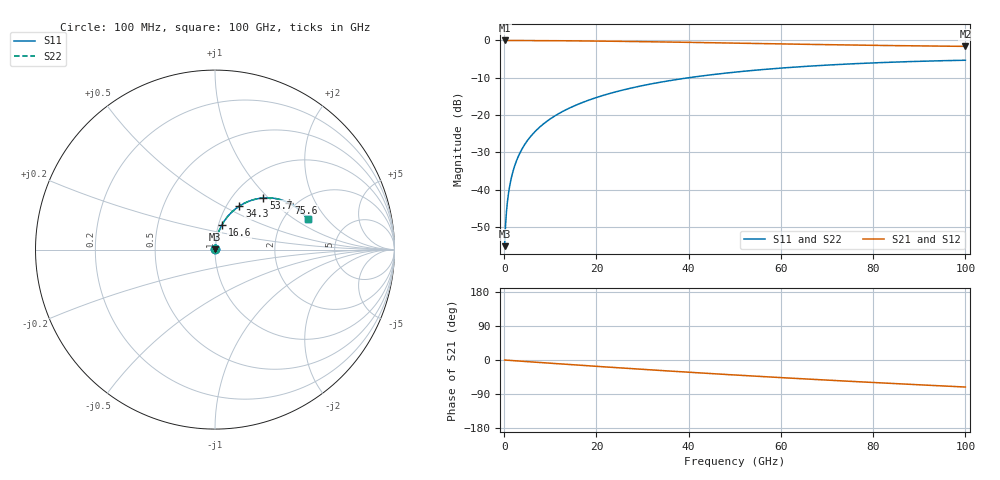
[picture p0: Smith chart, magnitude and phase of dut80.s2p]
! Touchstone file exported from HFSS 2026.1.0
!  File:  C:/ffzhzh/LocalFiles/Ansys_Project_Files/temp_train_RDL_80_1783498782_9504.aedt
!  Generated:  04:20:50 PM Jul  8, 2026
!  Design:  RDL
!  Project:  temp_train_RDL_80_1783498782_9504
! Variables:
!  h_bsmrdl = 2um
!  h_ox = 20um
!  h_rdl = 5um
!  h_sub = 80um
!  h_tmrdl = 2.87um
!  h_tsv = 80um
!  h_via = 3um
!  l_bsmrdl = 300um
!  l_sub = 603.23um
!  l_tmrdl = 203.23um
!  m_sub = 200um
!  pitch = 46.65um
!  r_tsv = 6um
!  s_tmrdl = 10um
!  w_bsmrdl = 18um
!  w_sub = 500um
!  w_tmrdl = 21.62um
!  x_tsv_center1 = 214.04um
!  x_tsv_center2 = 532.04um
!  x_tsv_center3 = 756.89um
!  x_tsv_center4 = 1074.89um
!  x_tsv_center5 = 1299.74um
!  x_tsv_center6 = 1617.74um
# GHz S MA R 50.000000
! Terminal data exported
! Port[1] = TM_RDL1_1_T1
! Port[2] = TM_RDL1_1_T2
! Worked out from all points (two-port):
!   1000 points, 100 MHz to 100 GHz, reference 50 ohm
!   highest |S21| = -0.01 dB at 100 MHz (marker M1); lowest = -1.6 dB at 100 GHz (marker M2)
!   |S21| within 3 dB of the highest: start of sweep to end of sweep
!   lowest |S11| = -55.2 dB at 100 MHz (marker M3), VSWR 1.00, Z = 50.1 + j0.0992 ohm
!   |S11| at or under -10 dB: start of sweep to 40.07 GHz
!   |S22| runs from -55.2 to -5.3 dB; largest |S21 - S12| = 4.6e-15
!   S11 on the Smith chart (normalised r, x): 100 MHz: 1.00, +0.00; 16.6 GHz: 1.04, +0.29; 34.3 GHz: 1.15, +0.60; 53.7 GHz: 1.37, +0.93; 75.6 GHz: 1.83, +1.25; 100 GHz: 2.69, +1.28
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0.1  0.001738 34.7  0.9986 -0.1  0.9986 -0.1  0.001738 34.7
! Gamma 0 0 0 0
! Port Impedance 50 0 50 0
0.4  0.004145 67.0  0.9984 -0.4  0.9984 -0.4  0.004145 67.0
0.9  0.008491 77.2  0.9982 -0.8  0.9982 -0.8  0.008491 77.2
1.2  0.01113 79.6  0.9981 -1.0  0.9981 -1.0  0.01113 79.6
1.5  0.01379 81.0  0.998 -1.3  0.998 -1.3  0.01379 81.0
2  0.01824 82.3  0.9979 -1.7  0.9979 -1.7  0.01824 82.3
2.6  0.02359 82.9  0.9977 -2.2  0.9977 -2.2  0.02359 82.9
4.1  0.03696 83.1  0.9971 -3.5  0.9971 -3.5  0.03696 83.1
6.2  0.05553 82.1  0.9959 -5.3  0.9959 -5.3  0.05553 82.1
8.9  0.07909 80.2  0.9938 -7.6  0.9938 -7.6  0.07908 80.2
12.4  0.109 77.5  0.9902 -10.5  0.9902 -10.5  0.109 77.5
16.6  0.1439 74.2  0.985 -13.9  0.985 -13.9  0.1439 74.2
16.8  0.1455 74.1  0.9848 -14.1  0.9848 -14.1  0.1455 74.1
24.2  0.2043 68.4  0.9734 -20.1  0.9734 -20.1  0.2043 68.4
33.4  0.2717 61.4  0.956 -27.3  0.956 -27.3  0.2717 61.4
34.3  0.278 60.7  0.9542 -28.0  0.9542 -28.0  0.278 60.7
50.1  0.3756 49.3  0.9196 -39.6  0.9196 -39.6  0.3756 49.3
53.7  0.3947 46.8  0.9116 -42.2  0.9116 -42.2  0.3946 46.8
66.7  0.4538 38.2  0.8836 -50.9  0.8836 -50.9  0.4537 38.2
75.6  0.4858 32.5  0.8664 -56.6  0.8664 -56.6  0.4858 32.6
83.4  0.5087 27.8  0.8533 -61.5  0.8533 -61.5  0.5087 27.8
100  0.5422 18.0  0.8325 -71.3  0.8325 -71.3  0.5421 18.1
